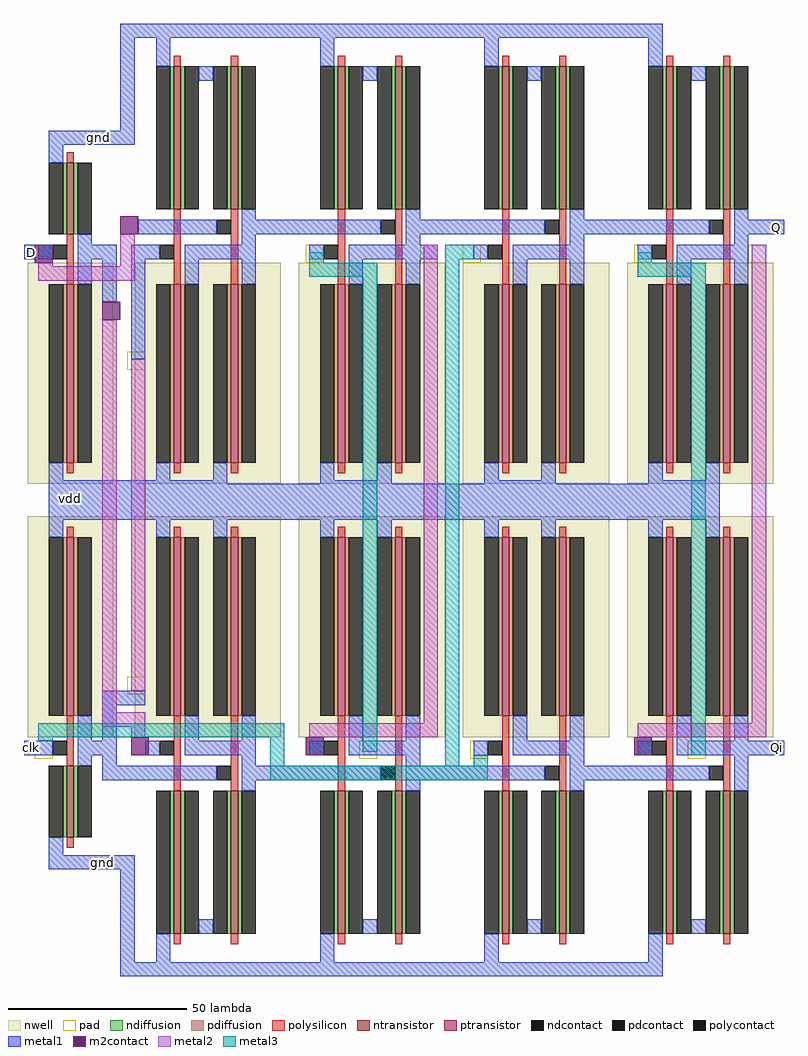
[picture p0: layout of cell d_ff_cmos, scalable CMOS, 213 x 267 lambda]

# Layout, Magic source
magic
tech scmos
<< metal1 >>
rect 26 233 178 237
rect 26 207 30 233
rect 10 203 30 207
rect 31 178 53 182
rect 64 178 95 182
rect 110 178 141 182
rect 156 178 187 182
rect 202 178 212 182
rect -1 171 2 175
rect 18 171 25 175
rect 21 159 25 171
rect 29 143 33 175
rect 110 171 115 175
rect 10 105 36 109
rect 56 105 194 108
rect 6 102 194 105
rect 10 98 36 102
rect 56 98 194 102
rect 21 46 33 50
rect 21 36 25 46
rect -1 32 3 36
rect 18 32 25 36
rect 202 32 212 36
rect 21 29 25 32
rect 21 25 49 29
rect 64 25 95 29
rect 110 25 141 29
rect 156 25 187 29
rect 10 0 30 4
rect 26 -26 30 0
rect 26 -30 178 -26
<< m2contact >>
rect 26 178 31 183
rect 2 170 7 175
rect 21 154 26 159
rect 29 32 34 37
rect 78 32 83 37
rect 170 32 175 37
<< metal2 >>
rect 3 169 7 170
rect 26 169 30 178
rect 3 165 30 169
rect 21 44 25 154
rect 29 50 33 143
rect 21 40 33 44
rect 111 41 115 175
rect 203 41 207 175
rect 29 37 33 40
rect 79 37 115 41
rect 171 37 207 41
<< metal3 >>
rect 79 170 83 173
rect 117 171 125 175
rect 79 166 98 170
rect 3 37 72 41
rect 3 36 7 37
rect 68 29 72 37
rect 94 33 98 166
rect 117 29 121 171
rect 171 170 175 173
rect 171 166 190 170
rect 186 32 190 166
rect 125 29 129 32
rect 68 25 129 29
<< pad >>
rect 78 170 83 175
rect 110 170 115 175
rect 122 170 127 175
rect 170 170 175 175
rect 202 170 207 175
rect 28 140 33 145
rect 28 49 33 54
rect 2 31 7 36
rect 93 31 98 36
rect 124 31 129 36
rect 185 31 190 36
use inv_cmos  inv_cmos_0 ../../../inv/cmos/post_layout
transform 1 0 0 0 1 37
box 0 -37 24 65
use nand_cmos  nand_cmos_1 ../../../nand/cmos/post_layout
transform 1 0 36 0 1 43
box -6 -69 34 59
use nand_cmos  nand_cmos_2
transform 1 0 82 0 1 43
box -6 -69 34 59
use nand_cmos  nand_cmos_6
transform 1 0 174 0 1 43
box -6 -69 34 59
use nand_cmos  nand_cmos_7
transform 1 0 128 0 1 43
box -6 -69 34 59
use inv_cmos  inv_cmos_1
transform 1 0 0 0 -1 170
box 0 -37 24 65
use nand_cmos  nand_cmos_0
transform 1 0 36 0 -1 164
box -6 -69 34 59
use nand_cmos  nand_cmos_3
transform 1 0 82 0 -1 164
box -6 -69 34 59
use nand_cmos  nand_cmos_4
transform 1 0 128 0 -1 164
box -6 -69 34 59
use nand_cmos  nand_cmos_5
transform 1 0 174 0 -1 164
box -6 -69 34 59
<< labels >>
rlabel metal1 -1 171 3 175 3 D
rlabel metal1 -1 32 3 36 3 clk
rlabel metal1 208 32 212 36 7 Qi
rlabel metal1 208 178 212 182 7 Q
rlabel metal1 19 204 21 206 1 gnd
rlabel metal1 20 1 22 3 1 gnd
rlabel metal1 11 103 13 105 1 vdd
<< end >>

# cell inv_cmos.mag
magic
tech scmos
<< nwell >>
rect 0 0 24 62
<< ntransistor >>
rect 11 -28 13 -8
<< ptransistor >>
rect 11 6 13 56
<< ndiffusion >>
rect 10 -28 11 -8
rect 13 -28 14 -8
<< pdiffusion >>
rect 10 6 11 56
rect 13 6 14 56
<< ndcontact >>
rect 6 -28 10 -8
rect 14 -28 18 -8
<< pdcontact >>
rect 6 6 10 56
rect 14 6 18 56
<< polysilicon >>
rect 11 56 13 59
rect 11 -8 13 6
rect 11 -31 13 -28
<< polycontact >>
rect 7 -5 11 -1
<< metal1 >>
rect 6 56 10 65
rect 3 -5 7 -1
rect 14 -8 18 6
rect 6 -37 10 -28
<< labels >>
rlabel metal1 3 -5 7 -1 1 IN
rlabel metal1 14 -5 18 -1 1 OUT
rlabel metal1 6 61 10 65 5 vdd
rlabel metal1 6 -37 10 -33 1 gnd
<< end >>

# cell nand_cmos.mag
magic
tech scmos
<< nwell >>
rect -6 -6 35 56
<< ntransistor >>
rect 5 -61 7 -21
rect 21 -61 23 -21
<< ptransistor >>
rect 5 0 7 50
rect 21 0 23 50
<< ndiffusion >>
rect 4 -61 5 -21
rect 7 -61 8 -21
rect 20 -61 21 -21
rect 23 -61 24 -21
<< pdiffusion >>
rect 4 0 5 50
rect 7 0 8 50
rect 20 0 21 50
rect 23 0 24 50
<< ndcontact >>
rect 0 -61 4 -21
rect 8 -61 12 -21
rect 16 -61 20 -21
rect 24 -61 28 -21
<< pdcontact >>
rect 0 0 4 50
rect 8 0 12 50
rect 16 0 20 50
rect 24 0 28 50
<< polysilicon >>
rect 5 50 7 53
rect 21 50 23 53
rect 5 -21 7 0
rect 21 -21 23 0
rect 5 -64 7 -61
rect 21 -64 23 -61
<< polycontact >>
rect 1 -11 5 -7
rect 17 -18 21 -14
<< metal1 >>
rect 0 55 20 59
rect 0 50 4 55
rect 16 50 20 55
rect 8 -7 12 0
rect 24 -7 28 0
rect -3 -11 1 -7
rect 8 -11 28 -7
rect 13 -18 17 -14
rect 24 -21 28 -11
rect 12 -61 16 -57
rect 0 -69 4 -61
<< labels >>
rlabel metal1 10 55 14 59 5 vdd
rlabel metal1 -3 -11 1 -7 1 A
rlabel metal1 0 -69 4 -65 1 gnd
rlabel metal1 24 -11 28 -7 1 Y
rlabel metal1 13 -18 17 -14 1 B
<< end >>
